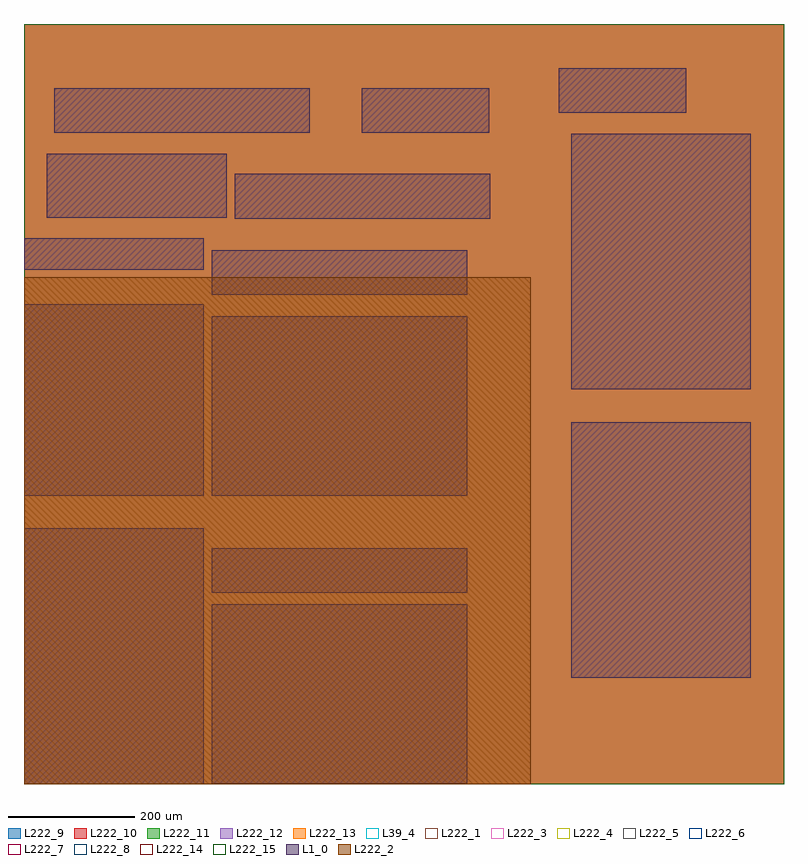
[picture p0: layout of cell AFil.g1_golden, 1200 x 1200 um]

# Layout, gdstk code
import gdstk
lib = gdstk.Library(unit=1e-6, precision=1e-09)
def R(c, l, rs):  # rectangles x0, y0, x1, y1
    for r in rs: c.add(gdstk.rectangle(r[:2], r[2:], *l))
def A(c, l, x, y, w, h, nx, ny, dx, dy):  # array of equal rectangles
    R(c, l, [(x+i*dx, y+j*dy, x+i*dx+w, y+j*dy+h) for i in range(nx) for j in range(ny)])
L1_0 = (1, 0)
L39_4 = (39, 4)
L222_1 = (222, 1)
L222_2 = (222, 2)
L222_3 = (222, 3)
L222_4 = (222, 4)
L222_5 = (222, 5)
L222_6 = (222, 6)
L222_7 = (222, 7)
L222_8 = (222, 8)
L222_9 = (222, 9)
L222_10 = (222, 10)
L222_11 = (222, 11)
L222_12 = (222, 12)
L222_13 = (222, 13)
L222_14 = (222, 14)
L222_15 = (222, 15)

afil_g1_golden = lib.new_cell('AFil.g1_golden')
A(afil_g1_golden, L1_0, 0, 0, 35, 50, 8, 8, 35.5, 50.5)
A(afil_g1_golden, L1_0, 296.58, 0.03, 50, 35, 8, 8, 50.5, 35.5)
A(afil_g1_golden, L1_0, 863.895, 167.65, 35, 50, 8, 8, 35.5, 50.5)
A(afil_g1_golden, L1_0, 296.58, 301.62, 50, 35, 8, 2, 50.5, 35.5)
A(afil_g1_golden, L1_0, 0, 455.31, 35, 50, 8, 6, 35.5, 50.5)
A(afil_g1_golden, L1_0, 296.58, 455.34, 50, 35, 8, 8, 50.5, 35.5)
A(afil_g1_golden, L1_0, 863.895, 622.96, 35, 50, 8, 8, 35.5, 50.5)
A(afil_g1_golden, L1_0, 296.58, 772.635, 50, 35, 8, 2, 50.5, 35.5)
A(afil_g1_golden, L1_0, 0, 812.105, 35, 50, 8, 1, 35.5, 0)
A(afil_g1_golden, L1_0, 332.83, 892.86, 50, 35, 8, 2, 50.5, 35.5)
A(afil_g1_golden, L1_0, 36.25, 894.24, 35, 50, 8, 2, 35.5, 50.5)
A(afil_g1_golden, L1_0, 47.45, 1027.93, 50, 35, 8, 2, 50.5, 35.5)
A(afil_g1_golden, L1_0, 533.25, 1027.93, 50, 35, 4, 2, 50.5, 35.5)
A(afil_g1_golden, L1_0, 843.995, 1059.65, 50, 35, 4, 2, 50.5, 35.5)
R(afil_g1_golden, L39_4, [(0,0,1200,1200)])
R(afil_g1_golden, L222_1, [(0,0,1200,1200)])
R(afil_g1_golden, L222_2, [(0,0,800,800)])
R(afil_g1_golden, L222_3, [(0,0,1200,1200)])
R(afil_g1_golden, L222_4, [(0,0,1200,1200)])
R(afil_g1_golden, L222_5, [(0,0,1200,1200)])
R(afil_g1_golden, L222_6, [(0,0,1200,1200)])
R(afil_g1_golden, L222_7, [(0,0,1200,1200)])
R(afil_g1_golden, L222_8, [(0,0,1200,1200)])
R(afil_g1_golden, L222_9, [(0,0,800,800), (400,0,1200,800), (0,400,800,1200), (400,400,1200,1200)])
R(afil_g1_golden, L222_10, [(0,0,800,800), (400,0,1200,800), (0,400,800,1200), (400,400,1200,1200)])
R(afil_g1_golden, L222_11, [(0,0,800,800), (400,0,1200,800), (0,400,800,1200), (400,400,1200,1200)])
R(afil_g1_golden, L222_12, [(0,0,800,800), (400,0,1200,800), (0,400,800,1200), (400,400,1200,1200)])
R(afil_g1_golden, L222_13, [(0,0,800,800), (400,0,1200,800), (0,400,800,1200), (400,400,1200,1200)])
R(afil_g1_golden, L222_14, [(0,0,1200,1200)])
R(afil_g1_golden, L222_15, [(0,0,1200,1200)])

lib.write_gds('AFil.g1_golden.gds')
